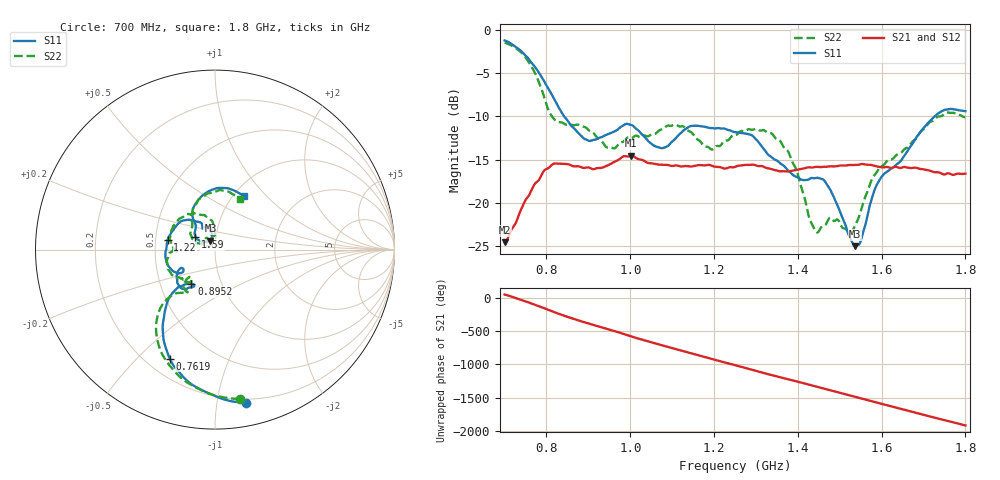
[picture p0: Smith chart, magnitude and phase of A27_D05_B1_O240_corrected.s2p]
! Created with skrf 1.9.0 (http://scikit-rf.org).
# Hz S RI R 50.0
!freq ReS11 ImS11 ReS21 ImS21 ReS12 ImS12 ReS22 ImS22
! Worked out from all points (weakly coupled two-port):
!   1601 points, 700 MHz to 1.8 GHz, reference 50 ohm
!   highest |S21| = -14.55 dB at 1.002 GHz (marker M1); lowest = -24.6 dB at 700 MHz (marker M2)
!   lowest |S11| = -25.0 dB at 1.537 GHz (marker M3), VSWR 1.12, Z = 47.3 + j4.73 ohm
!   |S11| at or under -10 dB: 842.2 MHz to 1.727 GHz (884.4 MHz wide, 68.9 % of centre)
!   |S22| runs from -23.5 to -1.5 dB; largest |S21 - S12| = 0.0034
!   S11 on the Smith chart (normalised r, x): 700 MHz: 0.17, -1.21; 761.9 MHz: 0.29, -0.63; 895.2 MHz: 0.72, -0.29; 1.22 GHz: 0.58, +0.07; 1.59 GHz: 0.80, +0.11; 1.8 GHz: 1.12, +0.75
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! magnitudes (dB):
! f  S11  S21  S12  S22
! 700 MHz  -1.2  -24.6  -24.4  -1.5
! 761.9 MHz  -3.6  -18.8  -18.7  -4.0
! 816.9 MHz  -7.9  -15.5  -15.6  -10.2
! 883.6 MHz  -12.3  -15.9  -15.8  -11.1
! 895.2 MHz  -12.7  -15.9  -16.0  -11.3
! 946.1 MHz  -12.1  -15.7  -15.7  -13.6
! 1.002 GHz  -11.0  -14.6  -14.7  -12.5
! 1.067 GHz  -13.6  -15.6  -15.5  -11.7
! 1.144 GHz  -11.1  -15.8  -15.8  -11.8
! 1.193 GHz  -11.3  -15.7  -15.7  -13.8
! 1.22 GHz  -11.4  -16.0  -16.0  -13.1
! 1.25 GHz  -11.8  -15.9  -15.8  -12.2
! 1.358 GHz  -15.4  -16.4  -16.3  -12.8
! 1.396 GHz  -17.0  -16.2  -16.2  -16.1
! 1.434 GHz  -17.1  -15.9  -15.9  -22.5
! 1.469 GHz  -17.9  -15.8  -15.8  -22.3
! 1.537 GHz  -25.0  -15.6  -15.6  -22.6
! 1.55 GHz  -24.4  -15.5  -15.6  -21.0
! 1.59 GHz  -17.8  -15.8  -15.8  -16.3
! 1.617 GHz  -16.3  -15.9  -15.9  -15.0
! 1.733 GHz  -9.7  -16.5  -16.5  -10.1
! 1.8 GHz  -9.4  -16.6  -16.6  -10.1
